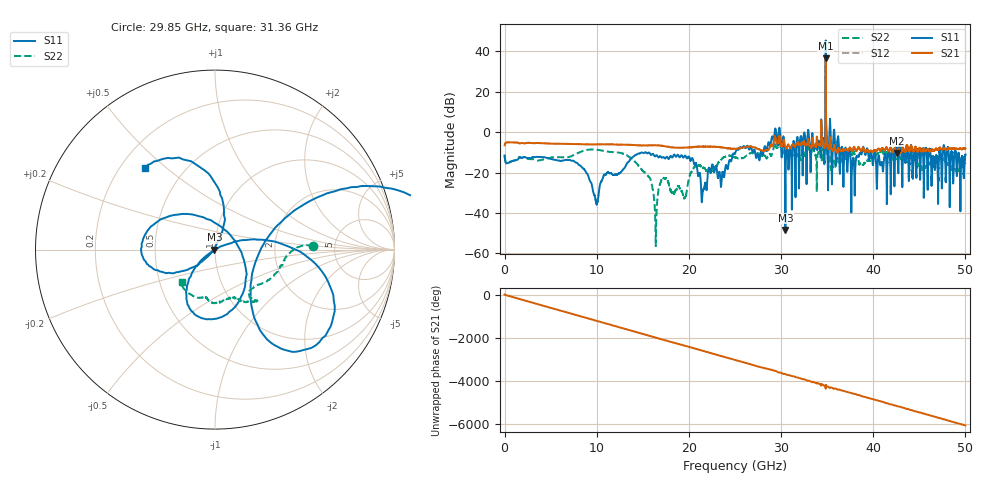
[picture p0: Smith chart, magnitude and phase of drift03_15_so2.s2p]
!Created with skrf (http://scikit-rf.org).
# Hz S RI R 50.0
!freq ReS11 ImS11 ReS21 ImS21 ReS12 ImS12 ReS22 ImS22
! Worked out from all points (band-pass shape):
!   10001 points, 300 kHz to 50 GHz, reference 50 ohm
!   highest |S21| = 36.56 dB at 34.85 GHz (marker M1); lowest = -10.4 dB at 42.55 GHz (marker M2)
!   |S21| within 3 dB of the highest: 34.84449 GHz to 34.8457 GHz (1.212 MHz wide, 0.00348 % of centre)
!   lowest |S11| = -48.4 dB at 30.47 GHz (marker M3), VSWR 1.01, Z = 49.6 - j0.0192 ohm
!   |S11| at or under -10 dB: start of sweep to 15.22 GHz; 15.33 GHz to 25.05 GHz (9.727 GHz wide, 48.2 % of centre); 40.22 GHz to 41.64 GHz (1.422 GHz wide, 3.47 % of centre) (the widest 3 of 59)
!   |S22| runs from -56.5 to 27.6 dB; largest |S21 - S12| = 9.5
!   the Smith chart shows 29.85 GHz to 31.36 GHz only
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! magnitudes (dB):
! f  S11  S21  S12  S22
! 300 kHz  -11.6  -6.5  -6.5  -11.4
! 8.335 GHz  -17.1  -6.0  -6.0  -9.6
! 9.955 GHz  -35.7  -6.1  -6.1  -8.7
! 11 GHz  -20.9  -6.1  -6.1  -9.5
! 15.51 GHz  -10.5  -6.6  -6.6  -21.4
! 16.37 GHz  -11.9  -6.5  -6.5  -46.5
! 16.67 GHz  -12.4  -6.6  -6.5  -29.2
! 17.32 GHz  -12.7  -6.9  -6.9  -22.9
! 19.54 GHz  -11.7  -7.7  -7.7  -32.6
! 20.21 GHz  -13.9  -7.4  -7.5  -20.2
! 21.55 GHz  -28.5  -7.2  -7.2  -17.7
! 25 GHz  -10.6  -8.3  -8.2  -12.5
! 29.6 GHz  -5.5  -5.7  -5.9  -7.8
! 30.47 GHz  -48.4  -7.2  -7.2  -9.1
! 33.34 GHz  -3.8  -6.9  -6.8  -9.5
! 34.85 GHz  45.4  36.6  36.4  27.6
! 35.63 GHz  -6.6  -9.2  -9.1  -16.1
! 37.82 GHz  -12.8  -8.4  -8.4  -10.0
! 38.81 GHz  -9.6  -8.5  -8.4  -16.1
! 41.67 GHz  -9.7  -9.5  -9.3  -11.1
! 42.55 GHz  -8.5  -10.4  -10.4  -13.1
! 50 GHz  -11.0  -8.2  -8.2  -15.6
